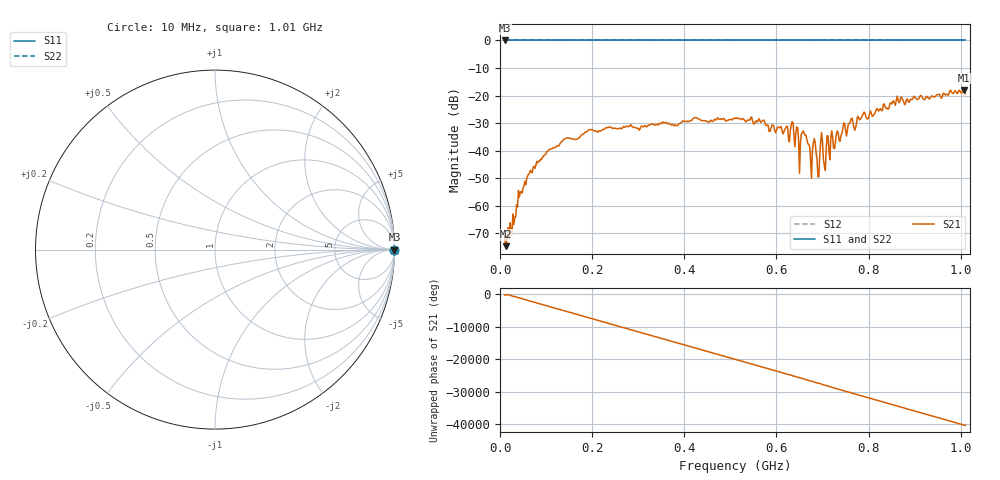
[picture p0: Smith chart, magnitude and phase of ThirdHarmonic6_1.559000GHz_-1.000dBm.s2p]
! 8/16/2025 6:31:21 PM
! C:\ANRITSUVNA\TEMP\TEMP.S2P
! CHANNEL.1
! TR.MEASUREMENT
! RAW.DATA
! RF.CORRECTION.OFF
! AVERAGING.OFF
! IF.BANDWIDTH: 5KHZ
! SWEEPTYPE:  FREQ.SWEEP(Linear)
! Reference Plane Port Info
! PORT:  PORT1  PORT2
! DISTANCE:  0  m  0  m
! TIME:  0  s  0  s
! PHASE.OFFSET:  0  deg.  0  deg.
! LOSS:  0  dB  0  dB
! REF.LOSS:  0  dB  0  dB
! REF.FREQ:  0  Hz  0  Hz
! Power Info
! POWER:  -20  dBm  -20  dBm
! EFF.POWER:  -20  dBm  -20  dBm
! SOURCE.ATTEN:  0  dB  0  dB
! TEST.ATTEN:  0  dB  0  dB
# GHZ S RI R 50.0
! FREQ.GHZ  S11RE  S11IM  S21RE  S21IM  S12RE  S12IM  S22RE  S22IM
!; PortSelection: Port_12
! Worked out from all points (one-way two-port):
!   501 points, 10 MHz to 1.01 GHz, reference 50 ohm
!   highest |S21| = -18.00 dB at 1.006 GHz (marker M1); lowest = -74.6 dB at 12 MHz (marker M2)
!   lowest |S11| = 0.0 dB at 10 MHz (marker M3)
!   |S11| at or under -10 dB: nowhere
!   |S22| runs from 0.0 to 0.0 dB; largest |S21 - S12| = 1.1
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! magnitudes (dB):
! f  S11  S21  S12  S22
! 10 MHz  0.0  -70.7  0.0  0.0
! 12 MHz  0.0  -74.6  0.0  0.0
! 30 MHz  0.0  -66.7  0.0  0.0
! 44 MHz  0.0  -55.0  0.0  0.0
! 76 MHz  0.0  -46.4  0.0  0.0
! 140 MHz  0.0  -35.8  0.0  0.0
! 178 MHz  0.0  -34.2  0.0  0.0
! 344 MHz  0.0  -30.5  0.0  0.0
! 510 MHz  0.0  -28.1  0.0  0.0
! 634 MHz  0.0  -29.5  0.0  0.0
! 652 MHz  0.0  -37.1  0.0  0.0
! 660 MHz  0.0  -33.5  0.0  0.0
! 672 MHz  0.0  -38.5  0.0  0.0
! 678 MHz  0.0  -40.1  0.0  0.0
! 684 MHz  0.0  -37.1  0.0  0.0
! 690 MHz  0.0  -49.5  0.0  0.0
! 698 MHz  0.0  -33.4  0.0  0.0
! 704 MHz  0.0  -45.4  0.0  0.0
! 760 MHz  0.0  -29.6  0.0  0.0
! 844 MHz  0.0  -24.6  0.0  0.0
! 1.006 GHz  0.0  -18.0  0.0  0.0
! 1.01 GHz  0.0  -19.3  0.0  0.0
